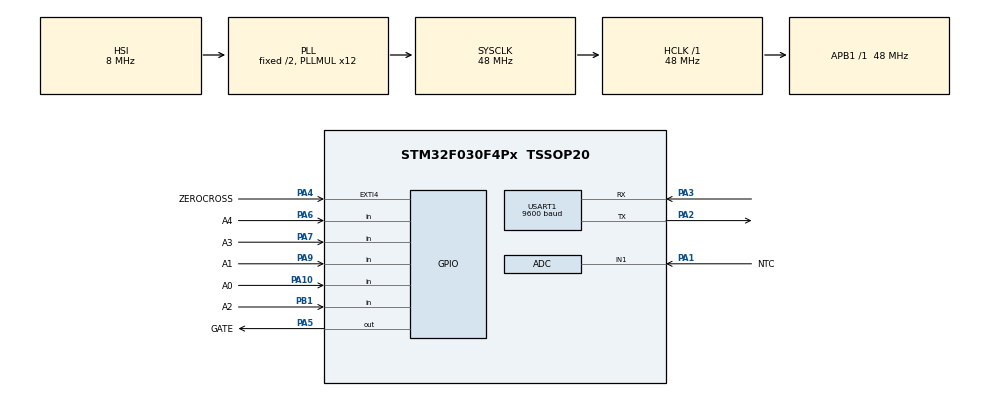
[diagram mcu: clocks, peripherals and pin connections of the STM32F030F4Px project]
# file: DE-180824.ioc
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ADC.ContinuousConvMode=DISABLE
ADC.DMAContinuousRequests=DISABLE
ADC.EOCSelection=ADC_EOC_SINGLE_CONV
ADC.EnableAnalogWatchDog=false
ADC.Overrun=ADC_OVR_DATA_PRESERVED
ADC.SamplingTime=ADC_SAMPLETIME_239CYCLES_5
Mcu.Family=STM32F0
Mcu.Name=STM32F030F4Px
Mcu.Package=TSSOP20
NVIC.EXTI4_15_IRQn=true\:0\:0\:false\:false\:true\:true\:true\:true
NVIC.TIM14_IRQn=true\:0\:0\:false\:false\:true\:true\:true\:true
NVIC.USART1_IRQn=true\:1\:0\:true\:false\:true\:true\:true\:true
PA0.GPIO_Label=CURRENT
PA0.Signal=ADC_IN0
PA1.GPIO_Label=NTC
PA1.Mode=IN1
PA1.Signal=ADC_IN1
PA10.GPIO_Label=A0
PA10.GPIO_PuPd=GPIO_PULLDOWN
PA10.Signal=GPIO_Input
PA13.Mode=Serial_Wire
PA13.Signal=SYS_SWDIO
PA14.Mode=Serial_Wire
PA14.Signal=SYS_SWCLK
PA2.Mode=Asynchronous
PA2.Signal=USART1_TX
PA3.Mode=Asynchronous
PA3.Signal=USART1_RX
PA4.GPIO_Label=ZEROCROSS
PA4.GPIO_PuPd=GPIO_PULLDOWN
PA4.Signal=GPXTI4
PA5.GPIO_Label=GATE
PA5.GPIO_PuPd=GPIO_PULLUP
PA5.GPIO_Speed=GPIO_SPEED_FREQ_HIGH
PA5.PinState=GPIO_PIN_SET
PA5.Signal=GPIO_Output
PA6.GPIO_Label=A4
PA6.GPIO_PuPd=GPIO_PULLUP
PA6.Signal=GPIO_Input
PA7.GPIO_Label=A3
PA7.GPIO_PuPd=GPIO_PULLUP
PA7.Signal=GPIO_Input
PA9.GPIO_Label=A1
PA9.GPIO_PuPd=GPIO_PULLDOWN
PA9.Signal=GPIO_Input
PB1.GPIO_Label=A2
PB1.GPIO_PuPd=GPIO_PULLUP
PB1.Signal=GPIO_Input
ProjectManager.HeapSize=0x200
ProjectManager.StackSize=0x400
ProjectManager.TargetToolchain=MDK-ARM V5.32
RCC.AHBFreq_Value=48000000
RCC.APB1Freq_Value=48000000
RCC.APB1TimFreq_Value=48000000
RCC.HCLKFreq_Value=48000000
RCC.PLLMUL=RCC_PLL_MUL12
RCC.SYSCLKFreq_VALUE=48000000
RCC.SYSCLKSource=RCC_SYSCLKSOURCE_PLLCLK
TIM14.Period=99
TIM14.Prescaler=47
USART1.BaudRate=9600
USART1.VirtualMode-Asynchronous=VM_ASYNC
VP_IWDG_VS_IWDG.Mode=IWDG_Activate
VP_TIM14_VS_ClockSourceINT.Mode=Enable_Timer
board=custom

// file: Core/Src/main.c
/* USER CODE BEGIN Header */
/**
  ******************************************************************************
  * @file           : main.c
  * @brief          : Main program body
  ******************************************************************************
  * @attention
  *
  * Copyright (c) 2025 STMicroelectronics.
  * All rights reserved.
  *
  * This software is licensed under terms that can be found in the LICENSE file
  * in the root directory of this software component.
  * If no LICENSE file comes with this software, it is provided AS-IS.
  *
  ******************************************************************************
  */
/* USER CODE END Header */
#include "main.h"

/* USER CODE BEGIN Includes */
#include <math.h>
/* USER CODE END Includes */

/* USER CODE BEGIN PD */

// Definicije komandi
enum {
    DIMM_SET_VALUE = 0x01,
    DIMM_SET_RAMP = 0x02,
    DIMM_SET_TEMPERATURE = 0x03,
    DIMM_RESET = 0x04,
    DIMM_GET_STATE = 0x05,
    DIMM_RESTART = 0x06
};

typedef enum {
    INIT = 0,
    RUN,
    ERR
} eSYSstate;

/* USER CODE END PD */

/* USER CODE BEGIN PM */
#define UART_BUFFER_SIZE 8
#define DIMMER_COUNT 16
#define ACK 0x06
#define NAK 0x15
#define RETRY_COUNT 3
#define TIMEOUT 100 // ms
#define ADC_MAX 4095
#define ADC_VREF 3.3
#define NTC_R25 100000.0  // 100K na 25�C
#define NTC_BETA 3950.0  // Beta koeficijent
#define NTC_SERIES_RESISTOR 100000.0  // 100K pull-up
#define TEMP_CHECK_INTERVAL 500  // Periodicno merenje temperature (500 ms)
#define TEMP_TRESHOLD 20 // kada se izlaz pregrije mora se ohladiti za barem ovoliko za ponovni rad

/* USER CODE END PM */

ADC_HandleTypeDef hadc;

IWDG_HandleTypeDef hiwdg;

TIM_HandleTypeDef htim14;

UART_HandleTypeDef huart1;

/* USER CODE BEGIN PV */
void check_temperature_protection(void);
float convert_adc_to_temperature(uint16_t adc_value);
uint16_t read_ntc_adc(void);
void process_uart_command();
void ramp_update(void);
/* USER CODE END PV */

void SystemClock_Config(void);
static void MX_GPIO_Init(void);
static void MX_USART1_UART_Init(void);
static void MX_ADC_Init(void);
static void MX_IWDG_Init(void);
static void MX_TIM14_Init(void);
/* USER CODE BEGIN PFP */
volatile eSYSstate dimmer_state = INIT;
volatile uint8_t dimmer_address = 0, i;
volatile uint8_t dimmer_temp_limit = 90;
volatile uint8_t dimmer_ramp = 0;
uint8_t uart_rx_buffer[UART_BUFFER_SIZE];
uint8_t rx_byte;
uint8_t rxcnt = 0;
float ntc_temperature = 0;
const uint16_t upper_limit = 990;   // preko ove vrijednosti moguce treperenje
volatile uint16_t dimmer_new_value = 0;   // Ciljna vrednost
volatile uint32_t last_ramp_tick = 0;  // Pamti zadnje azuriranje
volatile uint32_t last_ntc_tick = 0;  // Pamti zadnje azuriranje
volatile uint16_t dimmer_value = 0;  // Vrijednost (0-1000) odreduje ugao iskljucenja
volatile uint8_t mosfet_on = 0; // Oznaka da je MOSFET ukljucen
/* USER CODE END PFP */

/* USER CODE BEGIN 0 */

void ramp_update(void) {
    if ((HAL_GetTick() - last_ramp_tick) >= dimmer_ramp) {  // Koristi podesivi inkrement
        last_ramp_tick = HAL_GetTick();  // A�uriraj vreme poslednje promene

        if (dimmer_value < dimmer_new_value) {
            dimmer_value++;  // Povecaj vrednost za 1
        } else if (dimmer_value > dimmer_new_value) {
            dimmer_value--;  // Smanji vrednost za 1
        }
    }
}
uint16_t read_ntc_adc(void) {
    ADC_ChannelConfTypeDef sConfig = {0};

    // Konfigurisanje ADC za NTC na PA1
    sConfig.Channel = ADC_CHANNEL_1;
    sConfig.Rank = ADC_RANK_CHANNEL_NUMBER;
    sConfig.SamplingTime = ADC_SAMPLETIME_239CYCLES_5;
    HAL_ADC_ConfigChannel(&hadc, &sConfig);

    HAL_ADC_Start(&hadc);
    HAL_ADC_PollForConversion(&hadc, HAL_MAX_DELAY);
    uint16_t adc_value = HAL_ADC_GetValue(&hadc);
    HAL_ADC_Stop(&hadc);

    return adc_value;
}

float convert_adc_to_temperature(uint16_t adc_value) {
    float voltage = (adc_value * ADC_VREF) / ADC_MAX;
    float resistance = (NTC_SERIES_RESISTOR * voltage) / (ADC_VREF - voltage);
    // Steinhart-Hart formula za temperaturu u Kelvina
    float tempK = 1.0 / ((log(resistance / NTC_R25) / NTC_BETA) + (1.0 / 298.15));
    return tempK - 273.15;  // Konverzija u Celzijuse
}
void check_temperature_protection(void) {
    if ((HAL_GetTick() - last_ntc_tick) >= 500) {
        last_ntc_tick = HAL_GetTick();  // Azuriraj vreme poslednje promene
        ntc_temperature = convert_adc_to_temperature(read_ntc_adc());
        if (((int)ntc_temperature > dimmer_temp_limit) && (dimmer_state != ERR))
        {
            dimmer_state = ERR;
            HAL_NVIC_DisableIRQ(EXTI4_15_IRQn);
            HAL_GPIO_WritePin(GATE_GPIO_Port, GATE_Pin, GPIO_PIN_SET);
        }
    }
}
/* USER CODE END 0 */

int main(void)
{

    /* MCU Configuration--------------------------------------------------------*/

    /* Reset of all peripherals, Initializes the Flash interface and the Systick. */
    HAL_Init();

    /* Configure the system clock */
    SystemClock_Config();

    /* Initialize all configured peripherals */
    MX_GPIO_Init();
    MX_USART1_UART_Init();
    MX_ADC_Init();
    MX_IWDG_Init();
    MX_TIM14_Init();

    /* Infinite loop */
    /* USER CODE BEGIN WHILE */
    while (1)
    {

        switch(dimmer_state)
        {
        case INIT:
            dimmer_address = 0;
            HAL_GPIO_WritePin(GATE_GPIO_Port, GATE_Pin, GPIO_PIN_SET);
            if(HAL_GPIO_ReadPin(A0_GPIO_Port, A0_Pin) == GPIO_PIN_SET) dimmer_address |= 0x01;
            if(HAL_GPIO_ReadPin(A1_GPIO_Port, A1_Pin) == GPIO_PIN_SET) dimmer_address |= 0x02;
            if(HAL_GPIO_ReadPin(A2_GPIO_Port, A2_Pin) == GPIO_PIN_RESET) dimmer_address |= 0x04;
            if(HAL_GPIO_ReadPin(A3_GPIO_Port, A3_Pin) == GPIO_PIN_RESET) dimmer_address |= 0x08;
            if(HAL_GPIO_ReadPin(A4_GPIO_Port, A4_Pin) == GPIO_PIN_RESET) dimmer_address |= 0x10;
            dimmer_new_value = 0;
            dimmer_value = 0;
            dimmer_ramp = 0;
            HAL_Delay(100);
            dimmer_state = RUN;
            break;

        case RUN:
            ramp_update();
            check_temperature_protection();
            break;

        default:
        case ERR:
            dimmer_value = 0;
            check_temperature_protection();
            break;
        }

        /* USER CODE END WHILE */

        /* USER CODE BEGIN 3 */
#ifdef USE_WATCHDOG
        HAL_IWDG_Refresh(&hiwdg);
#endif
    }
    /* USER CODE END 3 */
}

void SystemClock_Config(void)
{
    RCC_OscInitTypeDef RCC_OscInitStruct = {0};
    RCC_ClkInitTypeDef RCC_ClkInitStruct = {0};
    RCC_PeriphCLKInitTypeDef PeriphClkInit = {0};

    /** Initializes the RCC Oscillators according to the specified parameters
    * in the RCC_OscInitTypeDef structure.
    */
    RCC_OscInitStruct.OscillatorType = RCC_OSCILLATORTYPE_HSI|RCC_OSCILLATORTYPE_HSI14
                                       |RCC_OSCILLATORTYPE_LSI;
    RCC_OscInitStruct.HSIState = RCC_HSI_ON;
    RCC_OscInitStruct.HSI14State = RCC_HSI14_ON;
    RCC_OscInitStruct.HSICalibrationValue = RCC_HSICALIBRATION_DEFAULT;
    RCC_OscInitStruct.HSI14CalibrationValue = 16;
    RCC_OscInitStruct.LSIState = RCC_LSI_ON;
    RCC_OscInitStruct.PLL.PLLState = RCC_PLL_ON;
    RCC_OscInitStruct.PLL.PLLSource = RCC_PLLSOURCE_HSI;
    RCC_OscInitStruct.PLL.PLLMUL = RCC_PLL_MUL12;
    RCC_OscInitStruct.PLL.PREDIV = RCC_PREDIV_DIV1;
    if (HAL_RCC_OscConfig(&RCC_OscInitStruct) != HAL_OK)
    {
        Error_Handler();
    }

    /** Initializes the CPU, AHB and APB buses clocks
    */
    RCC_ClkInitStruct.ClockType = RCC_CLOCKTYPE_HCLK|RCC_CLOCKTYPE_SYSCLK
                                  |RCC_CLOCKTYPE_PCLK1;
    RCC_ClkInitStruct.SYSCLKSource = RCC_SYSCLKSOURCE_PLLCLK;
    RCC_ClkInitStruct.AHBCLKDivider = RCC_SYSCLK_DIV1;
    RCC_ClkInitStruct.APB1CLKDivider = RCC_HCLK_DIV1;

    if (HAL_RCC_ClockConfig(&RCC_ClkInitStruct, FLASH_LATENCY_1) != HAL_OK)
    {
        Error_Handler();
    }
    PeriphClkInit.PeriphClockSelection = RCC_PERIPHCLK_USART1;
    PeriphClkInit.Usart1ClockSelection = RCC_USART1CLKSOURCE_PCLK1;
    if (HAL_RCCEx_PeriphCLKConfig(&PeriphClkInit) != HAL_OK)
    {
        Error_Handler();
    }
}

static void MX_ADC_Init(void)
{

    ADC_ChannelConfTypeDef sConfig = {0};

    /** Configure the global features of the ADC (Clock, Resolution, Data Alignment and number of conversion)
    */
    hadc.Instance = ADC1;
    hadc.Init.ClockPrescaler = ADC_CLOCK_ASYNC_DIV1;
    hadc.Init.Resolution = ADC_RESOLUTION_12B;
    hadc.Init.DataAlign = ADC_DATAALIGN_RIGHT;
    hadc.Init.ScanConvMode = ADC_SCAN_DIRECTION_FORWARD;
    hadc.Init.EOCSelection = ADC_EOC_SINGLE_CONV;
    hadc.Init.LowPowerAutoWait = DISABLE;
    hadc.Init.LowPowerAutoPowerOff = DISABLE;
    hadc.Init.ContinuousConvMode = DISABLE;
    hadc.Init.DiscontinuousConvMode = DISABLE;
    hadc.Init.ExternalTrigConv = ADC_SOFTWARE_START;
    hadc.Init.ExternalTrigConvEdge = ADC_EXTERNALTRIGCONVEDGE_NONE;
    hadc.Init.DMAContinuousRequests = DISABLE;
    hadc.Init.Overrun = ADC_OVR_DATA_PRESERVED;
    if (HAL_ADC_Init(&hadc) != HAL_OK)
    {
        Error_Handler();
    }

    /** Configure for the selected ADC regular channel to be converted.
    */
    sConfig.Channel = ADC_CHANNEL_1;
    sConfig.Rank = ADC_RANK_CHANNEL_NUMBER;
    sConfig.SamplingTime = ADC_SAMPLETIME_239CYCLES_5;
    if (HAL_ADC_ConfigChannel(&hadc, &sConfig) != HAL_OK)
    {
        Error_Handler();
    }

}

static void MX_IWDG_Init(void)
{

    /* USER CODE BEGIN IWDG_Init 0 */
#ifdef USE_WATCHDOG
    /* USER CODE END IWDG_Init 0 */

    hiwdg.Instance = IWDG;
    hiwdg.Init.Prescaler = IWDG_PRESCALER_4;
    hiwdg.Init.Window = 4095;
    hiwdg.Init.Reload = 4095;
    if (HAL_IWDG_Init(&hiwdg) != HAL_OK)
    {
        Error_Handler();
    }
    /* USER CODE BEGIN IWDG_Init 2 */
#endif
    /* USER CODE END IWDG_Init 2 */

}

static void MX_TIM14_Init(void)
{

    htim14.Instance = TIM14;
    htim14.Init.Prescaler = 47;
    htim14.Init.CounterMode = TIM_COUNTERMODE_UP;
    htim14.Init.Period = 99;
    htim14.Init.ClockDivision = TIM_CLOCKDIVISION_DIV1;
    htim14.Init.AutoReloadPreload = TIM_AUTORELOAD_PRELOAD_DISABLE;
    if (HAL_TIM_Base_Init(&htim14) != HAL_OK)
    {
        Error_Handler();
    }
    /* USER CODE BEGIN TIM14_Init 2 */
    HAL_TIM_Base_Start_IT(&htim14);
    /* USER CODE END TIM14_Init 2 */

}

static void MX_USART1_UART_Init(void)
{

    huart1.Instance = USART1;
    huart1.Init.BaudRate = 9600;
    huart1.Init.WordLength = UART_WORDLENGTH_8B;
    huart1.Init.StopBits = UART_STOPBITS_1;
    huart1.Init.Parity = UART_PARITY_NONE;
    huart1.Init.Mode = UART_MODE_TX_RX;
    huart1.Init.HwFlowCtl = UART_HWCONTROL_NONE;
    huart1.Init.OverSampling = UART_OVERSAMPLING_16;
    huart1.Init.OneBitSampling = UART_ONE_BIT_SAMPLE_DISABLE;
    huart1.AdvancedInit.AdvFeatureInit = UART_ADVFEATURE_NO_INIT;
    if (HAL_UART_Init(&huart1) != HAL_OK)
    {
        Error_Handler();
    }
    /* USER CODE BEGIN USART1_Init 2 */
    HAL_UART_Receive_IT(&huart1, &rx_byte, 1);
    /* USER CODE END USART1_Init 2 */

}

static void MX_GPIO_Init(void)
{
    GPIO_InitTypeDef GPIO_InitStruct = {0};

    /* GPIO Ports Clock Enable */
    __HAL_RCC_GPIOA_CLK_ENABLE();
    __HAL_RCC_GPIOB_CLK_ENABLE();

    /*Configure GPIO pin Output Level */
    HAL_GPIO_WritePin(GATE_GPIO_Port, GATE_Pin, GPIO_PIN_SET);

    /*Configure GPIO pin : ZEROCROSS_Pin */
    GPIO_InitStruct.Pin = ZEROCROSS_Pin;
    GPIO_InitStruct.Mode = GPIO_MODE_IT_RISING;
    GPIO_InitStruct.Pull = GPIO_PULLDOWN;
    HAL_GPIO_Init(ZEROCROSS_GPIO_Port, &GPIO_InitStruct);

    /*Configure GPIO pin : GATE_Pin */
    GPIO_InitStruct.Pin = GATE_Pin;
    GPIO_InitStruct.Mode = GPIO_MODE_OUTPUT_PP;
    GPIO_InitStruct.Pull = GPIO_PULLUP;
    GPIO_InitStruct.Speed = GPIO_SPEED_FREQ_HIGH;
    HAL_GPIO_Init(GATE_GPIO_Port, &GPIO_InitStruct);

    /*Configure GPIO pins : A4_Pin A3_Pin */
    GPIO_InitStruct.Pin = A4_Pin|A3_Pin;
    GPIO_InitStruct.Mode = GPIO_MODE_INPUT;
    GPIO_InitStruct.Pull = GPIO_PULLUP;
    HAL_GPIO_Init(GPIOA, &GPIO_InitStruct);

    /*Configure GPIO pin : A2_Pin */
    GPIO_InitStruct.Pin = A2_Pin;
    GPIO_InitStruct.Mode = GPIO_MODE_INPUT;
    GPIO_InitStruct.Pull = GPIO_PULLUP;
    HAL_GPIO_Init(A2_GPIO_Port, &GPIO_InitStruct);

    /*Configure GPIO pins : A1_Pin A0_Pin */
    GPIO_InitStruct.Pin = A1_Pin|A0_Pin;
    GPIO_InitStruct.Mode = GPIO_MODE_INPUT;
    GPIO_InitStruct.Pull = GPIO_PULLDOWN;
    HAL_GPIO_Init(GPIOA, &GPIO_InitStruct);

    /* EXTI interrupt init*/
    HAL_NVIC_SetPriority(EXTI4_15_IRQn, 0, 0);
    HAL_NVIC_EnableIRQ(EXTI4_15_IRQn);

}

/* USER CODE BEGIN 4 */
/**
  * @brief  stop timer interrupt, fire triac, and compare current angle in 100us increments
  * @param
  * @retval
  */
void HAL_TIM_PeriodElapsedCallback(TIM_HandleTypeDef *htim)
{
    if (htim->Instance == TIM14 && mosfet_on) {
        // Iskljuci MOSFET nakon izračunatog vremena
        HAL_GPIO_WritePin(GATE_GPIO_Port, GATE_Pin, GPIO_PIN_SET);  // GATE_PIN_SET isključuje MOSFET
        HAL_TIM_Base_Stop_IT(&htim14);
        mosfet_on = 0;
    }
}
/**
  * @brief
  * @param
  * @retval
  */
void HAL_GPIO_EXTI_Callback(uint16_t GPIO_Pin)
{
    if (GPIO_Pin == ZEROCROSS_Pin) {
        if (dimmer_value > 0) {
            // Ukljuci MOSFET odmah nakon detekcije nule (invertovana logika za trailing edge)
            HAL_GPIO_WritePin(GATE_GPIO_Port, GATE_Pin, GPIO_PIN_RESET);  // GATE_PIN_RESET ukljucuje MOSFET
            mosfet_on = 1;

            // Izračunaj koliko treba čekati do isključenja (dimmer_value * 10 µs)
            uint16_t delay_ticks = dimmer_value * 10;

            // Postavi tajmer za isključenje MOSFET-a
            __HAL_TIM_SET_COUNTER(&htim14, 0);
            __HAL_TIM_SET_AUTORELOAD(&htim14, delay_ticks);
            HAL_TIM_Base_Start_IT(&htim14);
        }
    }
}
/**
  * @brief
  * @param
  * @retval
  */

/**
  * @brief packet 1DIMMCH,2CMD,3VALHI,4VALLO,5CRC
  * @param
  * @retval
  */
void HAL_UART_RxCpltCallback(UART_HandleTypeDef *huart)
{
    if (huart->Instance == USART1) {
        uart_rx_buffer[rxcnt++] = rx_byte;

        // Provera dužine komande na osnovu drugog bajta (komande)
        uint8_t expected_length = 3;
        if (rxcnt > 1) {
            switch (uart_rx_buffer[1]) {
            case DIMM_SET_VALUE:
            case DIMM_RESET:
                expected_length = 4;
                break;
            case DIMM_GET_STATE:
            case DIMM_RESTART:
                expected_length = 2;
                break;
            default:
                expected_length = 3;
                break;
            }
        }

        if (rxcnt >= expected_length) {
            process_uart_command();
            rxcnt = 0; // Resetujemo brojač nakon obrade
        }
        HAL_UART_Receive_IT(&huart1, &rx_byte, 1);
    }
}
void process_uart_command() {
    uint8_t id = uart_rx_buffer[0];
    uint8_t command = uart_rx_buffer[1];
    uint8_t response[UART_BUFFER_SIZE] = {0};
    response[0] = 0;

    if (id >= DIMMER_COUNT && id != 0x55) return;

    switch (command) {
    case DIMM_SET_VALUE:
        if (id == dimmer_address) {
            dimmer_new_value = ((uart_rx_buffer[2] << 8)|uart_rx_buffer[3]);
            if(dimmer_new_value > upper_limit) dimmer_new_value = upper_limit;
            if (dimmer_state != ERR) response[0] = ACK;
            else response[0] = NAK;
        }
        break;
    case DIMM_SET_RAMP:
        if (id == dimmer_address) {
            dimmer_ramp = uart_rx_buffer[2];
            if (dimmer_state != ERR) response[0] = ACK;
            else response[0] = NAK;
        }
        break;
    case DIMM_SET_TEMPERATURE:
        if (id == dimmer_address) {
            dimmer_temp_limit = uart_rx_buffer[2];
            if (dimmer_state != ERR) response[0] = ACK;
            else response[0] = NAK;
        }
        break;
    case DIMM_RESET:
        if ((id == 0x55)||(id == dimmer_address)) {
            dimmer_value = 0;
            dimmer_new_value = 0;
            dimmer_ramp = uart_rx_buffer[2];
            dimmer_temp_limit = uart_rx_buffer[3];
            dimmer_state = RUN;
            HAL_NVIC_EnableIRQ(EXTI4_15_IRQn);
            if (id == dimmer_address) response[0] = ACK;
        }
        break;
    case DIMM_RESTART:
        if ((id == 0x55)||(id == dimmer_address)) {
            if (id == dimmer_address)
            {
                response[0] = ACK;
                HAL_UART_Transmit(&huart1, response, sizeof(response), HAL_MAX_DELAY);
            }
            Error_Handler();
        }
        break;
    case DIMM_GET_STATE:
        if (id == dimmer_address) {
            response[0] = id;
            response[1] = DIMM_GET_STATE;
            response[2] = dimmer_value >> 8;
            response[3] = dimmer_value & 0xff;
            response[4] = dimmer_ramp;
            response[5] = ((int)ntc_temperature) & 0xff;
            response[6] = dimmer_temp_limit;
            response[7] = dimmer_state;
        }
        break;
    default:
        return;
    }
    if(response[0] != 0) HAL_UART_Transmit(&huart1, response, sizeof(response), HAL_MAX_DELAY);
}
/**
  * @brief
  * @param
  * @retval
  */
void HAL_UART_TxCpltCallback(UART_HandleTypeDef *huart)
{
}
/**
  * @brief
  * @param
  * @retval
  */
void HAL_UART_ErrorCallback(UART_HandleTypeDef *huart)
{
    __HAL_UART_CLEAR_PEFLAG(&huart1);
    __HAL_UART_CLEAR_FEFLAG(&huart1);
    __HAL_UART_CLEAR_NEFLAG(&huart1);
    __HAL_UART_CLEAR_IDLEFLAG(&huart1);
    __HAL_UART_CLEAR_OREFLAG(&huart1);
    HAL_UART_AbortReceive(&huart1);
    memset(uart_rx_buffer, 0, sizeof(uart_rx_buffer));
    HAL_UART_Receive_IT(&huart1, &rx_byte, 1);
}
/* USER CODE END 4 */

void Error_Handler(void)
{
    /* USER CODE BEGIN Error_Handler_Debug */
    /* User can add his own implementation to report the HAL error return state */
    __disable_irq();
    HAL_ADC_MspDeInit(&hadc);
    HAL_TIM_Base_MspDeInit(&htim14);
    HAL_UART_MspDeInit(&huart1);
    HAL_DeInit();
    while (1)
    {
        HAL_NVIC_SystemReset();
    }
    /* USER CODE END Error_Handler_Debug */
}
